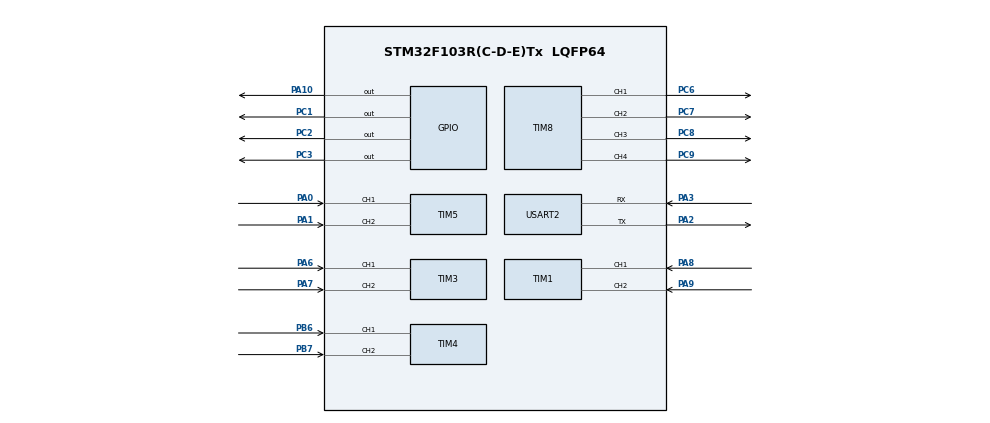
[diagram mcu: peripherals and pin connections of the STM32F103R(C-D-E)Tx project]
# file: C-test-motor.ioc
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FREERTOS.Tasks01=motorTestTask,24,128,StartMtrTestTask,As weak,NULL,Dynamic,NULL,NULL;MtrUpdtSpdTask,8,128,StartTaskMtrGetSpd,As external,NULL,Dynamic,NULL,NULL
Mcu.Family=STM32F1
Mcu.Name=STM32F103R(C-D-E)Tx
Mcu.Package=LQFP64
NVIC.PriorityGroup=NVIC_PRIORITYGROUP_4
NVIC.TIM7_IRQn=true\:15\:0\:false\:false\:true\:false\:false\:true\:true
NVIC.TimeBase=TIM7_IRQn
NVIC.TimeBaseIP=TIM7
PA0-WKUP.Signal=S_TIM5_CH1
PA1.Signal=S_TIM5_CH2
PA13.Mode=Serial_Wire
PA13.Signal=SYS_JTMS-SWDIO
PA14.Mode=Serial_Wire
PA14.Signal=SYS_JTCK-SWCLK
PA2.Mode=Asynchronous
PA2.Signal=USART2_TX
PA3.Mode=Asynchronous
PA3.Signal=USART2_RX
PA6.Signal=S_TIM3_CH1
PA7.Signal=S_TIM3_CH2
PA8.Signal=S_TIM1_CH1
PA9.Signal=S_TIM1_CH2
PB6.Signal=S_TIM4_CH1
PB7.Signal=S_TIM4_CH2
PA10.Signal=GPIO_Output
PC1.Signal=GPIO_Output
PC2.Signal=GPIO_Output
PC3.Signal=GPIO_Output
PC6.Signal=S_TIM8_CH1
PC7.Signal=S_TIM8_CH2
PC8.Signal=S_TIM8_CH3
PC9.Signal=S_TIM8_CH4
ProjectManager.HeapSize=0x200
ProjectManager.StackSize=0x400
ProjectManager.TargetToolchain=STM32CubeIDE
RCC.APB1Freq_Value=8000000
RCC.APB2Freq_Value=8000000
SH.S_TIM1_CH1.0=TIM1_CH1,Encoder_Interface
SH.S_TIM1_CH2.0=TIM1_CH2,Encoder_Interface
SH.S_TIM5_CH1.0=TIM5_CH1,Encoder_Interface
SH.S_TIM5_CH2.0=TIM5_CH2,Encoder_Interface
SH.S_TIM3_CH1.0=TIM3_CH1,Encoder_Interface
SH.S_TIM3_CH2.0=TIM3_CH2,Encoder_Interface
SH.S_TIM4_CH1.0=TIM4_CH1,Encoder_Interface
SH.S_TIM4_CH2.0=TIM4_CH2,Encoder_Interface
SH.S_TIM8_CH1.0=TIM8_CH1,PWM Generation1 CH1
SH.S_TIM8_CH2.0=TIM8_CH2,PWM Generation2 CH2
SH.S_TIM8_CH3.0=TIM8_CH3,PWM Generation3 CH3
SH.S_TIM8_CH4.0=TIM8_CH4,PWM Generation4 CH4
TIM1.EncoderMode=TIM_ENCODERMODE_TI12
TIM1.IC1Filter=15
TIM1.IC2Filter=15
TIM5.EncoderMode=TIM_ENCODERMODE_TI12
TIM5.IC1Filter=15
TIM5.IC2Filter=15
TIM3.EncoderMode=TIM_ENCODERMODE_TI12
TIM3.IC1Filter=15
TIM3.IC2Filter=15
TIM4.EncoderMode=TIM_ENCODERMODE_TI12
TIM4.IC1Filter=15
TIM4.IC2Filter=15
TIM8.Channel-PWM\ Generation1\ CH1=TIM_CHANNEL_1
TIM8.Channel-PWM\ Generation2\ CH2=TIM_CHANNEL_2
TIM8.Channel-PWM\ Generation3\ CH3=TIM_CHANNEL_3
TIM8.Channel-PWM\ Generation4\ CH4=TIM_CHANNEL_4
USART2.VirtualMode=VM_ASYNC
VP_FREERTOS_VS_CMSIS_V2.Mode=CMSIS_V2
VP_SYS_VS_tim7.Mode=TIM7
VP_TIM8_VS_ClockSourceINT.Mode=Internal
board=custom

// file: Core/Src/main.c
/* USER CODE BEGIN Header */
/**
  ******************************************************************************
  * @file           : main.c
  * @brief          : Main program body
  ******************************************************************************
  * @attention
  *
  * Copyright (c) 2026 STMicroelectronics.
  * All rights reserved.
  *
  * This software is licensed under terms that can be found in the LICENSE file
  * in the root directory of this software component.
  * If no LICENSE file comes with this software, it is provided AS-IS.
  *
  ******************************************************************************
  */
/* USER CODE END Header */
#include "main.h"
#include "cmsis_os.h"
#include "tim.h"
#include "usart.h"
#include "gpio.h"

/* USER CODE BEGIN Includes */
#include "motor.h"
#include "encoder.h"
/* USER CODE END Includes */

/* USER CODE BEGIN PD */
/* 1 = 全速直通测试（固定 1000‰，绕过斜坡）；0 = 0→+600→−600 来回扫 */
#define MOTOR_FULL_SPEED_TEST  1
/* USER CODE END PD */

void SystemClock_Config(void);
void MX_FREERTOS_Init(void);

/* USER CODE BEGIN 0 */
/* 引脚定义已移到 motor.h，通过 g_motor[] 表统一管理 */

/* USER CODE END 0 */

int main(void)
{

  /* MCU Configuration--------------------------------------------------------*/

  /* Reset of all peripherals, Initializes the Flash interface and the Systick. */
  HAL_Init();

  /* Configure the system clock */
  SystemClock_Config();

  /* Initialize all configured peripherals */
  MX_GPIO_Init();
  MX_TIM1_Init();
  MX_TIM5_Init();
  MX_TIM3_Init();
  MX_TIM4_Init();
  MX_TIM8_Init();
  MX_USART2_UART_Init();
  /* USER CODE BEGIN 2 */

  /* PWM 改成 20 kHz：8 MHz / (0+1) / (399+1)
     必须在 Motor_InitAll() 之前，因为 SetDuty 会按 ARR 换算 CCR
     注意：PWM 已经从 TIM1 换到 TIM8（TIM1 现在是编码器），
           这里如果还写 htim1，会把编码器的计数上限改成 399，计数直接废掉 */
  __HAL_TIM_SET_PRESCALER(&htim8, 0);
  __HAL_TIM_SET_AUTORELOAD(&htim8, 399);

  Motor_InitAll();      /* 配方向脚 + 启动 PWM，此时 STBY 仍是低 */
  Motor_Enable(1);      /* 打开驱动芯片，忘掉这句电机不会动 */

  Encoder_InitAll();    /* 启动 TIM1~TIM4 四路编码器接口并清零，必须在任务采样前 */

  /* USER CODE END 2 */

  /* Init scheduler */
  osKernelInitialize();  /* Call init function for freertos objects (in cmsis_os2.c) */
  MX_FREERTOS_Init();

  /* Start scheduler */
  osKernelStart();

  /* We should never get here as control is now taken by the scheduler */

  /* Infinite loop */
  /* USER CODE BEGIN WHILE */

#if MOTOR_FULL_SPEED_TEST
  /* 全速直通测试：不经过斜坡、不经过 target，直接给 1000‰。
     这一档如果还是明显偏慢，就一定是电源/接线/电机参数的问题，不是代码。 */
  while (1)
  {
    Motor_SetDuty(&g_motor[0], 1000);
    HAL_Delay(100);
  }
#else
  int16_t  target = 0;
  int16_t  step   = 100;
  uint16_t cnt    = 0;

  Motor_SetTarget(&g_motor[0], target);

  while (1)
  {
    /* USER CODE END WHILE */

    /* USER CODE BEGIN 3 */

    /* 10 ms 一拍，duty 按 slew（每拍 60‰）逐步逼近 target */
    Motor_Update(&g_motor[0]);
    HAL_Delay(10);

    /* 每 500 ms 换一档目标：0 → +600 → −600 → 0 循环，
       顺便验证正转、反转以及换向时的"先归零"保护 */
    if (++cnt >= 50) {
        cnt = 0;
        if (target >=  600) step = -100;
        if (target <= -600) step =  100;
        target += step;
        Motor_SetTarget(&g_motor[0], target);
    }

  }
#endif
  /* USER CODE END 3 */
}

void SystemClock_Config(void)
{
  RCC_OscInitTypeDef RCC_OscInitStruct = {0};
  RCC_ClkInitTypeDef RCC_ClkInitStruct = {0};

  /** Initializes the RCC Oscillators according to the specified parameters
  * in the RCC_OscInitTypeDef structure.
  */
  RCC_OscInitStruct.OscillatorType = RCC_OSCILLATORTYPE_HSI;
  RCC_OscInitStruct.HSIState = RCC_HSI_ON;
  RCC_OscInitStruct.HSICalibrationValue = RCC_HSICALIBRATION_DEFAULT;
  RCC_OscInitStruct.PLL.PLLState = RCC_PLL_NONE;
  if (HAL_RCC_OscConfig(&RCC_OscInitStruct) != HAL_OK)
  {
    Error_Handler();
  }

  /** Initializes the CPU, AHB and APB buses clocks
  */
  RCC_ClkInitStruct.ClockType = RCC_CLOCKTYPE_HCLK|RCC_CLOCKTYPE_SYSCLK
                              |RCC_CLOCKTYPE_PCLK1|RCC_CLOCKTYPE_PCLK2;
  RCC_ClkInitStruct.SYSCLKSource = RCC_SYSCLKSOURCE_HSI;
  RCC_ClkInitStruct.AHBCLKDivider = RCC_SYSCLK_DIV1;
  RCC_ClkInitStruct.APB1CLKDivider = RCC_HCLK_DIV1;
  RCC_ClkInitStruct.APB2CLKDivider = RCC_HCLK_DIV1;

  if (HAL_RCC_ClockConfig(&RCC_ClkInitStruct, FLASH_LATENCY_0) != HAL_OK)
  {
    Error_Handler();
  }
}

void HAL_TIM_PeriodElapsedCallback(TIM_HandleTypeDef *htim)
{
  if (htim->Instance == TIM7)
  {
    HAL_IncTick();
  }
}

void Error_Handler(void)
{
  __disable_irq();
  while (1)
  {
  }
}

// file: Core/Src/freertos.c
/* USER CODE BEGIN Header */
/**
  ******************************************************************************
  * File Name          : freertos.c
  * Description        : Code for freertos applications
  ******************************************************************************
  * @attention
  *
  * Copyright (c) 2026 STMicroelectronics.
  * All rights reserved.
  *
  * This software is licensed under terms that can be found in the LICENSE file
  * in the root directory of this software component.
  * If no LICENSE file comes with this software, it is provided AS-IS.
  *
  ******************************************************************************
  */
/* USER CODE END Header */

#include "FreeRTOS.h"
#include "task.h"
#include "main.h"
#include "cmsis_os.h"

/* Definitions for motorTestTask */
osThreadId_t motorTestTaskHandle;
const osThreadAttr_t motorTestTask_attributes = {
  .name = "motorTestTask",
  .stack_size = 128 * 4,
  .priority = (osPriority_t) osPriorityNormal,
};
/* Definitions for MtrUpdtSpdTask */
osThreadId_t MtrUpdtSpdTaskHandle;
const osThreadAttr_t MtrUpdtSpdTask_attributes = {
  .name = "MtrUpdtSpdTask",
  .stack_size = 128 * 4,
  .priority = (osPriority_t) osPriorityLow,
};

void StartMtrTestTask(void *argument);
extern void StartTaskMtrGetSpd(void *argument);

void MX_FREERTOS_Init(void); /* (MISRA C 2004 rule 8.1) */

void MX_FREERTOS_Init(void) {

  /* Create the thread(s) */
  /* creation of motorTestTask */
  motorTestTaskHandle = osThreadNew(StartMtrTestTask, NULL, &motorTestTask_attributes);

  /* creation of MtrUpdtSpdTask */
  MtrUpdtSpdTaskHandle = osThreadNew(StartTaskMtrGetSpd, NULL, &MtrUpdtSpdTask_attributes);

}

__weak void StartMtrTestTask(void *argument)
{
  for(;;)
  {
    osDelay(1);
  }
}
